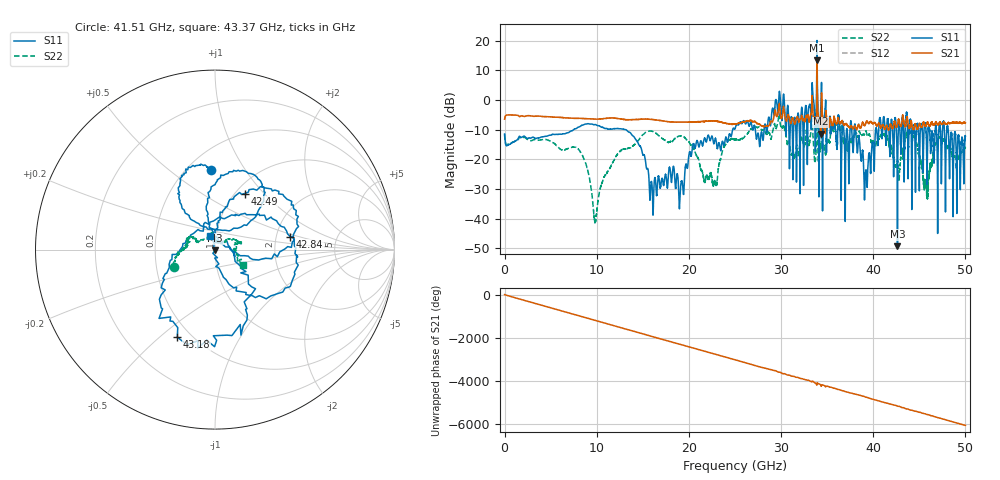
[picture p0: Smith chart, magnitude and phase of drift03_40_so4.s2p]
!Created with skrf (http://scikit-rf.org).
# Hz S RI R 50.0
!freq ReS11 ImS11 ReS21 ImS21 ReS12 ImS12 ReS22 ImS22
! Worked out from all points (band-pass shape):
!   10001 points, 300 kHz to 50 GHz, reference 50 ohm
!   highest |S21| = 13.40 dB at 33.9 GHz (marker M1); lowest = -11.4 dB at 34.32 GHz (marker M2)
!   |S21| within 3 dB of the highest: 33.89019 GHz to 33.90471 GHz (14.53 MHz wide, 0.0429 % of centre)
!   lowest |S11| = -49.2 dB at 42.63 GHz (marker M3), VSWR 1.01, Z = 50.1 - j0.315 ohm
!   |S11| at or under -10 dB: start of sweep to 7.49 GHz; 13.14 GHz to 24.74 GHz (11.6 GHz wide, 61.3 % of centre); 38.09 GHz to 40.26 GHz (2.166 GHz wide, 5.53 % of centre) (the widest 3 of 49)
!   |S22| runs from -41.4 to 5.8 dB; largest |S21 - S12| = 0.34
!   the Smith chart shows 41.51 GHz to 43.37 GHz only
!   S11 on the Smith chart (normalised r, x): 41.51 GHz: 0.65, +0.72; 42.49 GHz: 1.10, +0.79; 42.84 GHz: 2.39, +0.42; 43.18 GHz: 0.42, -0.57; 43.37 GHz: 0.93, +0.14
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300000  -0.2375 -0.1214  0.4675 0.0794  0.4648 0.0807  -0.233 -0.1252
1.440291e9  0.21 0.0646  -0.5479 -0.0293  -0.5481 -0.0288  0.2113 -0.0042
2.915283e9  -0.2122 -0.088  0.5347 0.0513  0.5347 0.0515  -0.2022 0.0402
4.415274e9  0.2061 0.1324  -0.5218 -0.0421  -0.5219 -0.0418  0.198 -0.0869
8.33525e9  0.2884 -0.2333  0.1463 0.4657  0.1463 0.4663  -0.0727 -0.1014
9.845241e9  -0.3635 0.1289  -0.1486 -0.4525  -0.1487 -0.4524  0.00858 0.00227
1.66702e10  0.0273 0.0434  -0.3778 0.2538  -0.3786 0.2534  -0.1274 -0.2196
2.500015e10  -0.3257 -0.0152  -0.2547 -0.2966  -0.2537 -0.2987  -0.2133 0.0273
2.895513e10  -0.3243 0.4341  -0.2887 0.3262  -0.2989 0.2904  0.0653 0.2211
3.006512e10  0.3982 0.268  0.45 -0.196  0.4533 -0.1822  0.1743 -0.297
3.171011e10  -0.0934 0.1867  -0.3624 0.3587  -0.3617 0.3559  0.0655 0.1589
3.33351e10  0.593 -0.814  0.2416 -0.83  0.2465 -0.8177  -0.1912 -0.4184
3.38951e10  -2.249 -9.771  -4.623 0.7108  -4.335 0.8959  0.4689 1.9
3.432009e10  -0.7794 -0.00136  -0.1803 0.1994  -0.2416 0.1788  0.1432 -0.0729
4.151005e10  -0.0215 0.4453  0.3343 0.1295  0.3368 0.1316  -0.2291 -0.0967
4.167005e10  -0.1976 0.3049  0.3134 0.00491  0.3135 0.0101  -0.1915 -0.0118
4.248505e10  0.1652 0.3125  0.0108 -0.3517  0.011 -0.3535  -0.0285 0.0683
4.263004e10  0.00143 -0.00314  -0.1706 -0.3409  -0.1652 -0.3442  -0.022 0.0906
4.284004e10  0.4183 0.0729  -0.2562 -0.3206  -0.2598 -0.3198  0.041 0.0422
4.318004e10  -0.21 -0.4886  -0.5329 0.0755  -0.5316 0.0689  0.1321 0.0375
4.337004e10  -0.029 0.0731  -0.355 0.1523  -0.3561 0.1509  0.1573 -0.0858
5e10  -0.1226 -0.2135  0.1461 0.3847  0.1441 0.3854  -0.0552 -0.1439
